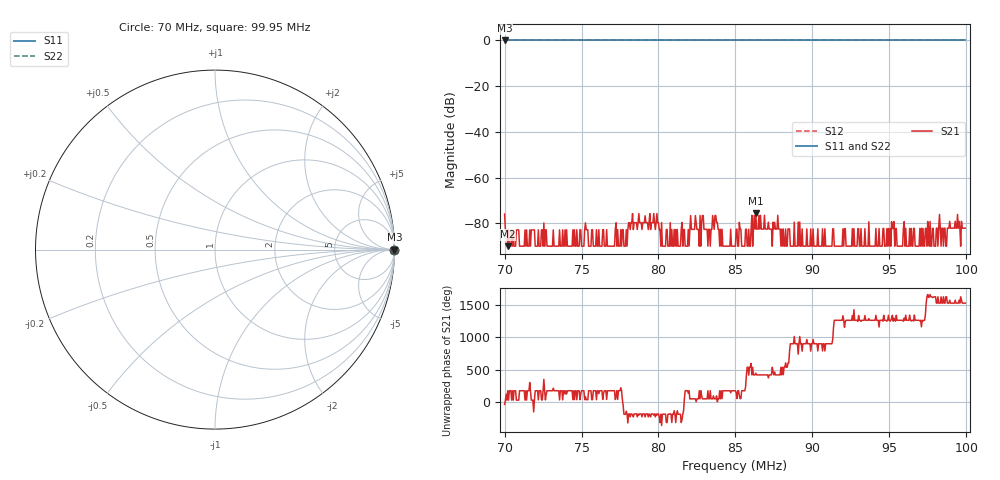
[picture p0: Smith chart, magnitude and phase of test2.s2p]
! created by knguyen at Thu Jan 29 15:05:28 CST 2015
! generated using vna/J Version 3.1.2
# Hz S DB R 50.0
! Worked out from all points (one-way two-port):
!   588 points, 70 MHz to 99.95 MHz, reference 50 ohm
!   highest |S21| = -75.54 dB at 86.33 MHz (marker M1); lowest = -90.0 dB at 70.2 MHz (marker M2)
!   lowest |S11| = 0.0 dB at 70 MHz (marker M3)
!   |S11| at or under -10 dB: nowhere
!   |S22| runs from 0.0 to 0.0 dB; largest |S21 - S12| = 1
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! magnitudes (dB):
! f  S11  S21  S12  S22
! 70 MHz  0.0  -75.9  0.0  0.0
! 70.2 MHz  0.0  -90.0  0.0  0.0
! 75 MHz  0.0  -90.0  0.0  0.0
! 78.78 MHz  0.0  -79.7  0.0  0.0
! 79.29 MHz  0.0  -79.7  0.0  0.0
! 79.8 MHz  0.0  -82.7  0.0  0.0
! 80 MHz  0.0  -79.7  0.0  0.0
! 82.55 MHz  0.0  -82.6  0.0  0.0
! 82.81 MHz  0.0  -79.6  0.0  0.0
! 83.06 MHz  0.0  -82.6  0.0  0.0
! 83.37 MHz  0.0  -90.0  0.0  0.0
! 83.62 MHz  0.0  -82.6  0.0  0.0
! 83.88 MHz  0.0  -82.6  0.0  0.0
! 85 MHz  0.0  -90.0  0.0  0.0
! 85.92 MHz  0.0  -90.0  0.0  0.0
! 86.33 MHz  0.0  -75.5  0.0  0.0
! 87.04 MHz  0.0  -82.5  0.0  0.0
! 90 MHz  0.0  -90.0  0.0  0.0
! 95 MHz  0.0  -90.0  0.0  0.0
! 99.13 MHz  0.0  -82.1  0.0  0.0
! 99.44 MHz  0.0  -76.1  0.0  0.0
! 99.95 MHz  0.0  -82.1  0.0  0.0
